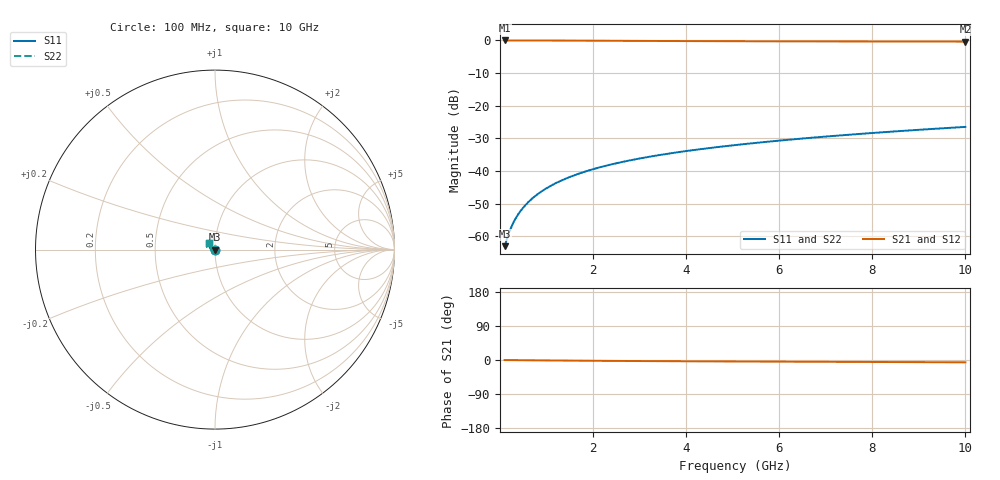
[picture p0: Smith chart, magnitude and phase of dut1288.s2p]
! Touchstone file exported from HFSS 2024.1.0
!  File:  C:/UserFiles/LocalFiles/RDL_TSV_Batchsim/temp_TSV1_1288_1780255973.aedt
!  Generated:  03:40:03 AM Jun  1, 2026
!  Design:  TSV1
!  Project:  temp_TSV1_1288_1780255973
!  Setup:  Setup1
!  Solution:  Sweep
! Variables:
!  dtsv = 5.76um
!  hbump = 3um
!  htsv = 87.44um
!  lrdl = 252.1521522um
!  p = 40
!  p1 = 59.3um
!  t = 500um
!  trdl = 3um
!  wrdl = 24.89489489um
# GHz S MA R 50.000000
! Terminal data exported
! Port[1] = TSV22_T1
! Port[2] = TSV22_T2
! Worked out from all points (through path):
!   100 points, 100 MHz to 10 GHz, reference 50 ohm
!   highest |S21| = 0.00 dB at 100 MHz (marker M1); lowest = -0.3 dB at 10 GHz (marker M2)
!   lowest |S11| = -63.0 dB at 100 MHz (marker M3), VSWR 1.00, Z = 50 - j0.0565 ohm
!   |S11| at or under -10 dB: start of sweep to end of sweep
!   |S22| runs from -63.0 to -26.5 dB; largest |S21 - S12| = 1.6e-14
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0.1  0.0007047 -53.2  0.9995 -0.1  0.9995 -0.1  0.0007047 -53.2
! Gamma 0 0 0 0
! Port Impedance 50 0 50 0
0.2  0.001174 -73.2  0.9994 -0.2  0.9994 -0.2  0.001174 -73.2
0.3  0.001689 -83.2  0.9993 -0.3  0.9993 -0.3  0.001689 -83.2
0.4  0.002217 -89.7  0.9991 -0.5  0.9991 -0.5  0.002217 -89.7
0.5  0.002752 -94.8  0.9988 -0.6  0.9988 -0.6  0.002752 -94.8
0.6  0.003289 -99.2  0.9985 -0.7  0.9985 -0.7  0.003289 -99.2
0.7  0.003827 -103.0  0.9982 -0.8  0.9982 -0.8  0.003827 -103.0
0.8  0.004365 -106.6  0.9978 -0.9  0.9978 -0.9  0.004365 -106.6
0.9  0.004903 -109.9  0.9973 -1.0  0.9973 -1.0  0.004903 -109.9
1.1  0.005973 -116.1  0.9963 -1.2  0.9963 -1.2  0.005974 -116.1
1.4  0.007561 -124.6  0.9947 -1.5  0.9947 -1.5  0.007561 -124.6
1.6  0.008603 -129.9  0.9934 -1.7  0.9934 -1.7  0.008603 -129.9
1.8  0.009632 -135.0  0.9921 -1.9  0.9921 -1.9  0.009632 -135.0
2.1  0.01115 -142.1  0.9901 -2.1  0.9901 -2.1  0.01115 -142.1
2.5  0.01313 -150.9  0.9873 -2.4  0.9873 -2.4  0.01313 -150.9
2.9  0.01505 -159.0  0.9846 -2.7  0.9846 -2.7  0.01505 -159.0
3.4  0.01741 -168.1  0.9814 -3.0  0.9814 -3.0  0.01741 -168.1
4.2  0.02108 179.4  0.9769 -3.4  0.9769 -3.4  0.02108 179.4
5.1  0.02515 167.8  0.9728 -3.9  0.9728 -3.9  0.02515 167.8
6.7  0.03232 152.2  0.9675 -4.6  0.9675 -4.6  0.03232 152.2
8.4  0.03999 140.3  0.9637 -5.4  0.9637 -5.4  0.03999 140.3
10  0.04733 131.9  0.961 -6.1  0.961 -6.1  0.04732 131.9
